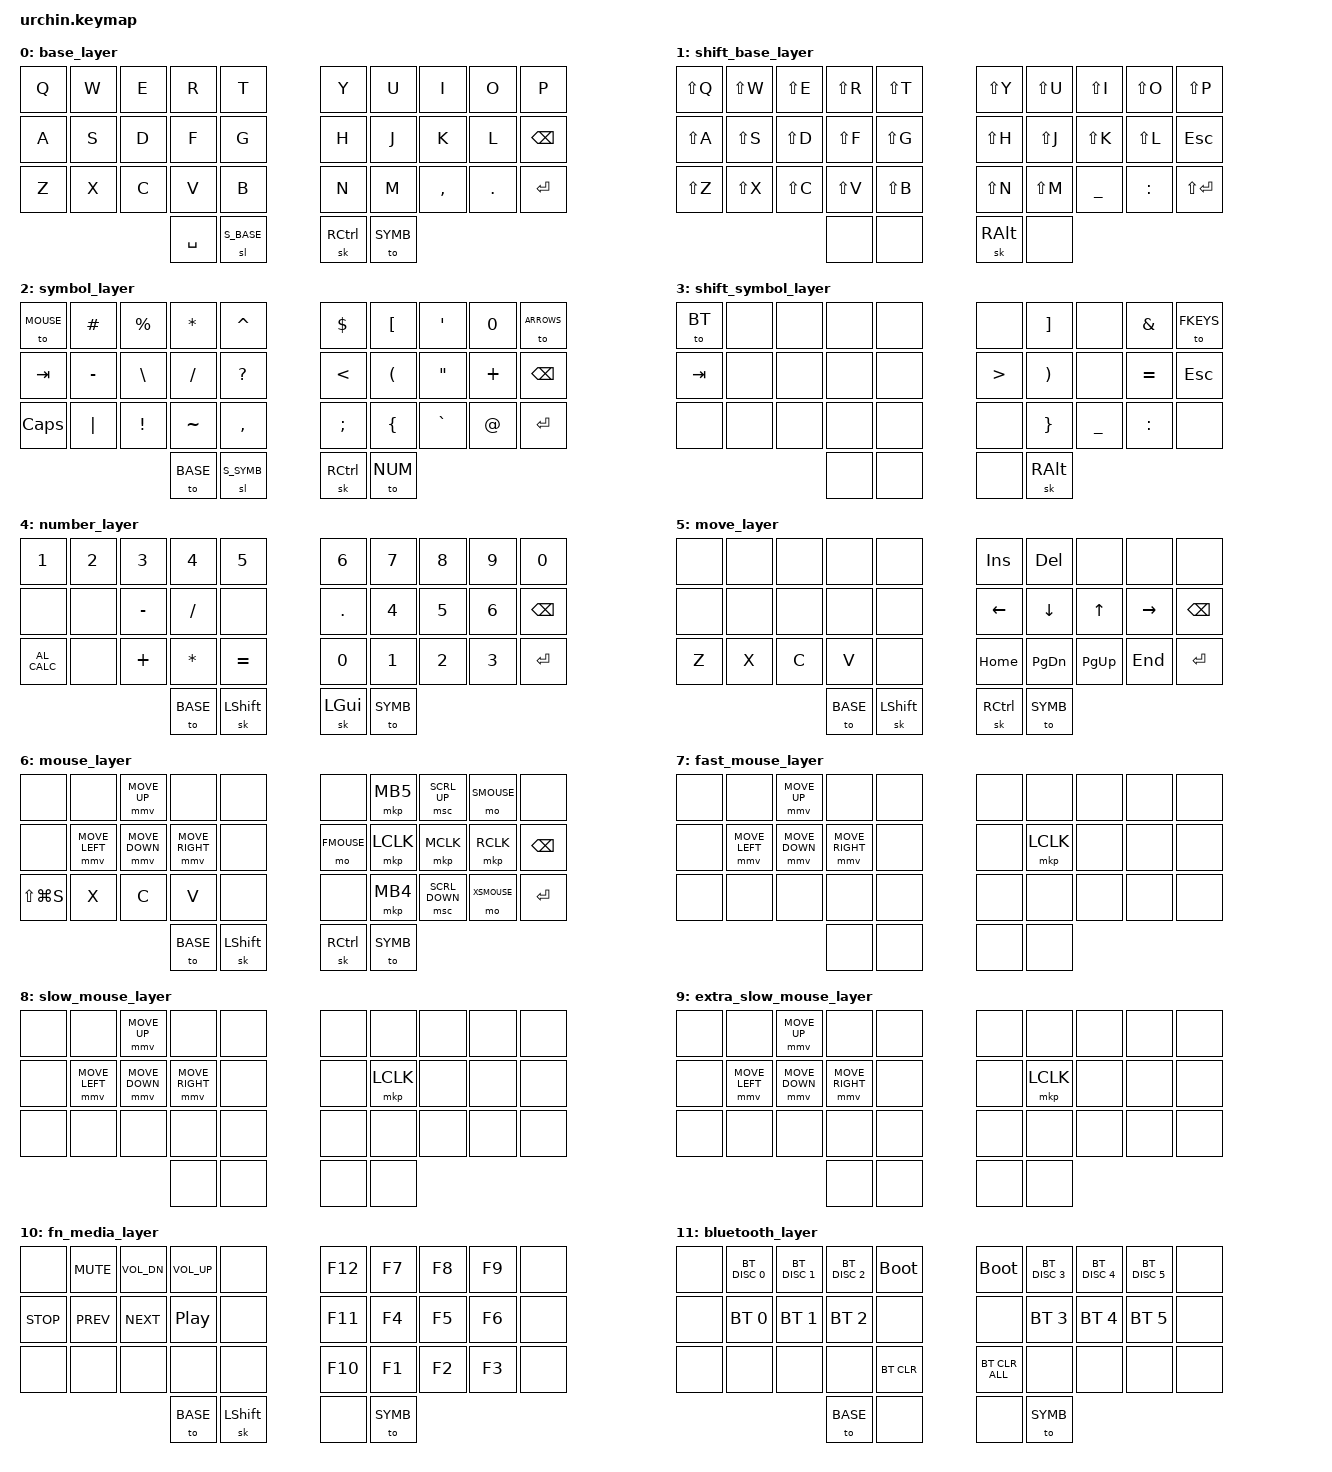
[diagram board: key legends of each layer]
/*
 * Copyright (c) 2025 duckyb

 * The first attempt in creating my own layout
 *
 * SPDX-License-Identifier: MIT
 */

#include <behaviors.dtsi>
#include <input/processors.dtsi>
#include <dt-bindings/zmk/keys.h>
#include <dt-bindings/zmk/bt.h>
#include <dt-bindings/zmk/pointing.h>
#include <dt-bindings/zmk/outputs.h>

// Layer defimitions
#define BASE 0
#define S_BASE 1
#define SYMB 2
#define S_SYMB 3
#define NUM  4
#define ARROWS 5
#define MOUSE 6
#define FMOUSE 7
#define SMOUSE 8
#define XSMOUSE 9
#define FKEYS 10
#define BT 11


&mmv {
   time-to-max-speed-ms = <120>;
   acceleration-exponent=<6>;
};

&mmv_input_listener {
    set_mouse_fast {
        layers = <FMOUSE>;
        input-processors = <&zip_xy_scaler 2 1>;
    };
};

&mmv_input_listener {
    set_mouse_slow {
        layers = <SMOUSE>;
        input-processors = <&zip_xy_scaler 1 2>;
    };
};

&mmv_input_listener {
    set_mouse_extra_slow {
        layers = <XSMOUSE>;
        input-processors = <&zip_xy_scaler 1 4>;
    };
};

/ {
    keymap {
        compatible = "zmk,keymap";
        // 0: base layer
        base_layer {
            bindings = <
                &kp Q  &kp W  &kp E  &kp R    &kp T               &kp Y      &kp U  &kp I      &kp O    &kp P
                &kp A  &kp S  &kp D  &kp F    &kp G               &kp H      &kp J  &kp K      &kp L    &kp BKSP
                &kp Z  &kp X  &kp C  &kp V    &kp B               &kp N      &kp M  &kp COMMA  &kp DOT  &kp ENTER
                                     &kp SPC  &sl S_BASE          &sk RCTRL  &to SYMB
            >;
        };
        // 1: shift base layer
        shift_base_layer {
            bindings = <
                &kp LS(Q)  &kp LS(W)  &kp LS(E)  &kp LS(R)  &kp LS(T)          &kp LS(Y)  &kp LS(U)  &kp LS(I)  &kp LS(O)  &kp LS(P)
                &kp LS(A)  &kp LS(S)  &kp LS(D)  &kp LS(F)  &kp LS(G)          &kp LS(H)  &kp LS(J)  &kp LS(K)  &kp LS(L)  &kp ESC
                &kp LS(Z)  &kp LS(X)  &kp LS(C)  &kp LS(V)  &kp LS(B)          &kp LS(N)  &kp LS(M)  &kp UNDER  &kp COLON  &kp LS(ENTER)
                                                 &none      &none              &sk RALT   &none 
            >;
        };
        // 2: symbol layer
        symbol_layer {
            bindings = <
                &to MOUSE  &kp HASH   &kp PRCNT  &kp STAR   &kp CARET          &kp DLLR   &kp LBKT  &kp SQT    &kp N0     &to ARROWS
                &kp TAB    &kp MINUS  &kp BSLH   &kp SLASH  &kp QMARK          &kp LT     &kp LPAR  &kp DQT    &kp PLUS   &kp BKSP
                &kp CAPS   &kp PIPE   &kp EXCL   &kp TILDE  &kp COMMA          &kp SEMI   &kp LBRC  &kp GRAVE  &kp AT     &kp ENTER
                                                 &to BASE   &sl S_SYMB         &sk RCTRL  &to NUM
            >;
        };
        // 3: shift symbol layer
        shift_symbol_layer {
            bindings = <
                &to BT   &none  &none  &none  &none         &none   &kp RBKT  &none      &kp AMPS   &to FKEYS
                &kp TAB  &none  &none  &none  &none         &kp GT  &kp RPAR  &none      &kp EQUAL  &kp ESC
                &none    &none  &none  &none  &none         &none   &kp RBRC  &kp UNDER  &kp COLON  &none
                                       &none  &none         &none   &sk RALT
            >;
        };
        // 4: nunbers layee
        number_layer {
            bindings = <
                &kp N1         &kp N2  &kp N3     &kp N4     &kp N5             &kp N6    &kp N7  &kp N8  &kp N9  &kp N0
                &none          &none   &kp MINUS  &kp SLASH  &none              &kp DOT   &kp N4  &kp N5  &kp N6  &kp BKSP
                &kp C_AL_CALC  &none   &kp PLUS   &kp STAR   &kp EQUAL          &kp N0    &kp N1  &kp N2  &kp N3  &kp ENTER
                                                  &to BASE   &sk LSHIFT         &sk LGUI  &to SYMB
            >;
        };
        // 5: move layer
        move_layer {
            bindings = <
                &none  &none  &none  &none     &none             &kp INS    &kp DEL    &none      &none      &none
                &none  &none  &none  &none     &none             &kp LEFT   &kp DOWN   &kp UP     &kp RIGHT  &kp BKSP
                &kp Z  &kp X  &kp C  &kp V     &none             &kp HOME   &kp PG_DN  &kp PG_UP  &kp END    &kp ENTER
                                     &to BASE  &sk LSHIFT        &sk RCTRL  &to SYMB
            >;
        };
        // 6: mouse layer
        mouse_layer {
            bindings = <
                &none          &none           &mmv MOVE_UP    &none            &none             &none       &mkp MB5   &msc SCRL_UP    &mo SMOUSE   &none
                &none          &mmv MOVE_LEFT  &mmv MOVE_DOWN  &mmv MOVE_RIGHT  &none             &mo FMOUSE  &mkp LCLK  &mkp MCLK       &mkp RCLK    &kp BKSP
                &kp LS(LG(S))  &kp X           &kp C           &kp V            &none             &none       &mkp MB4   &msc SCRL_DOWN  &mo XSMOUSE  &kp ENTER
                                                               &to BASE         &sk LSHIFT        &sk RCTRL   &to SYMB
            >;
        };
        // 7: fast mouse layer
        fast_mouse_layer {
            bindings = <
                &none  &none           &mmv MOVE_UP    &none            &none         &none  &none      &none  &none  &none
                &none  &mmv MOVE_LEFT  &mmv MOVE_DOWN  &mmv MOVE_RIGHT  &none         &none  &mkp LCLK  &none  &none  &none
                &none  &none           &none           &none            &none         &none  &none      &none  &none  &none
                                                       &none            &none         &none  &none
            >;
        };
        // 8: slow mouse layer
        slow_mouse_layer {
            bindings = <
                &none  &none           &mmv MOVE_UP    &none            &none         &none  &none      &none  &none  &none
                &none  &mmv MOVE_LEFT  &mmv MOVE_DOWN  &mmv MOVE_RIGHT  &none         &none  &mkp LCLK  &none  &none  &none
                &none  &none           &none           &none            &none         &none  &none      &none  &none  &none
                                                       &none            &none         &none  &none
            >;
        };
        // 9: extra slow mouse layer
        extra_slow_mouse_layer {
            bindings = <
                &none  &none           &mmv MOVE_UP    &none            &none         &none  &none      &none  &none  &none
                &none  &mmv MOVE_LEFT  &mmv MOVE_DOWN  &mmv MOVE_RIGHT  &none         &none  &mkp LCLK  &none  &none  &none
                &none  &none           &none           &none            &none         &none  &none      &none  &none  &none
                                                       &none            &none         &none  &none
            >;
        };
        // 10: Fn and media keys layer
        fn_media_layer {
            bindings = <
                &none       &kp C_MUTE  &kp  C_VOL_DN  &kp C_VOL_UP  &none             &kp F12  &kp F7  &kp F8  &kp F9  &none
                &kp C_STOP  &kp C_PREV  &kp  C_NEXT    &kp C_PP      &none             &kp F11  &kp F4  &kp F5  &kp F6  &none
                &none       &none       &none          &none         &none             &kp F10  &kp F1  &kp F2  &kp F3  &none
                                                       &to BASE      &sk LSHIFT        &none    &to SYMB
            >;
        };
        // 11: bluetooth layer
        bluetooth_layer {
            bindings = <
                &none  &bt BT_DISC 0  &bt BT_DISC 1  &bt BT_DISC 2 &bootloader          &bootloader     &bt BT_DISC 3  &bt BT_DISC 4  &bt BT_DISC 5  &none
                &none  &bt BT_SEL  0  &bt BT_SEL  1  &bt BT_SEL  2 &none                &none           &bt BT_SEL  3  &bt BT_SEL  4  &bt BT_SEL  5  &none
                &none  &none          &none          &none         &bt BT_CLR           &bt BT_CLR_ALL  &none          &none          &none          &none
                                                     &to BASE      &none                &none           &to SYMB
            >;
        };
    };
};
